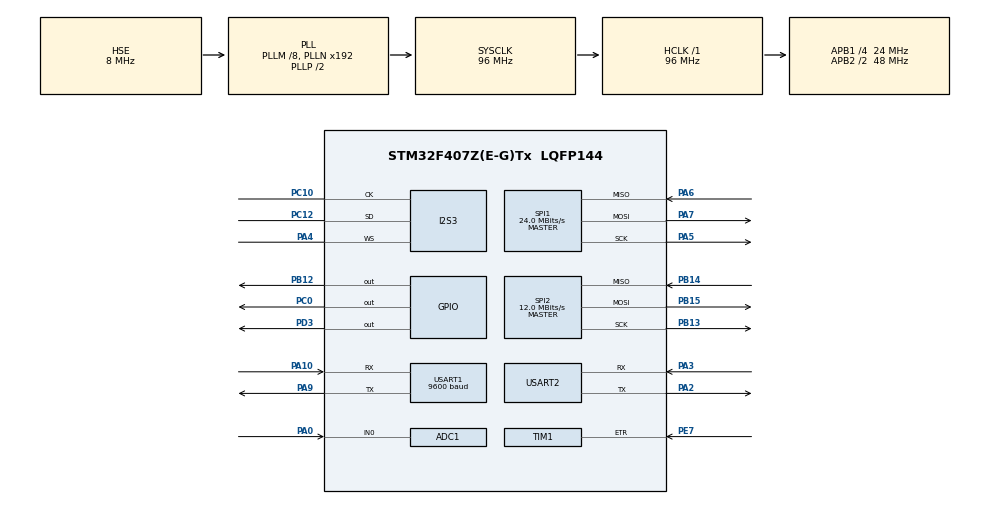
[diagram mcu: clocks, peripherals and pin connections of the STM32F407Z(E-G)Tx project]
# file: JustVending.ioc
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ADC1.Channel-0\#ChannelRegularConversion=ADC_CHANNEL_0
ADC1.NbrOfConversionFlag=1
ADC1.Rank-0\#ChannelRegularConversion=1
ADC1.SamplingTime-0\#ChannelRegularConversion=ADC_SAMPLETIME_3CYCLES
ADC1.master=1
Dma.Request0=USART1_RX
Dma.Request1=USART1_TX
Dma.Request2=USART2_RX
Dma.Request3=USART2_TX
Dma.Request4=SPI1_TX
Dma.Request5=SPI2_RX
Dma.Request6=SPI2_TX
Dma.Request7=SPI3_TX
Dma.SPI1_TX.4.Direction=DMA_MEMORY_TO_PERIPH
Dma.SPI1_TX.4.FIFOMode=DMA_FIFOMODE_DISABLE
Dma.SPI1_TX.4.Instance=DMA2_Stream3
Dma.SPI1_TX.4.MemDataAlignment=DMA_MDATAALIGN_BYTE
Dma.SPI1_TX.4.MemInc=DMA_MINC_ENABLE
Dma.SPI1_TX.4.Mode=DMA_NORMAL
Dma.SPI1_TX.4.PeriphDataAlignment=DMA_PDATAALIGN_BYTE
Dma.SPI1_TX.4.PeriphInc=DMA_PINC_DISABLE
Dma.SPI1_TX.4.Priority=DMA_PRIORITY_LOW
Dma.SPI2_RX.5.Direction=DMA_PERIPH_TO_MEMORY
Dma.SPI2_RX.5.FIFOMode=DMA_FIFOMODE_DISABLE
Dma.SPI2_RX.5.Instance=DMA1_Stream3
Dma.SPI2_RX.5.MemDataAlignment=DMA_MDATAALIGN_BYTE
Dma.SPI2_RX.5.MemInc=DMA_MINC_ENABLE
Dma.SPI2_RX.5.Mode=DMA_NORMAL
Dma.SPI2_RX.5.PeriphDataAlignment=DMA_PDATAALIGN_BYTE
Dma.SPI2_RX.5.PeriphInc=DMA_PINC_DISABLE
Dma.SPI2_RX.5.Priority=DMA_PRIORITY_LOW
Dma.SPI2_TX.6.Direction=DMA_MEMORY_TO_PERIPH
Dma.SPI2_TX.6.FIFOMode=DMA_FIFOMODE_DISABLE
Dma.SPI2_TX.6.Instance=DMA1_Stream4
Dma.SPI2_TX.6.MemDataAlignment=DMA_MDATAALIGN_BYTE
Dma.SPI2_TX.6.MemInc=DMA_MINC_ENABLE
Dma.SPI2_TX.6.Mode=DMA_NORMAL
Dma.SPI2_TX.6.PeriphDataAlignment=DMA_PDATAALIGN_BYTE
Dma.SPI2_TX.6.PeriphInc=DMA_PINC_DISABLE
Dma.SPI2_TX.6.Priority=DMA_PRIORITY_LOW
Dma.SPI3_TX.7.Direction=DMA_MEMORY_TO_PERIPH
Dma.SPI3_TX.7.FIFOMode=DMA_FIFOMODE_ENABLE
Dma.SPI3_TX.7.FIFOThreshold=DMA_FIFO_THRESHOLD_FULL
Dma.SPI3_TX.7.Instance=DMA1_Stream7
Dma.SPI3_TX.7.MemBurst=DMA_MBURST_INC4
Dma.SPI3_TX.7.MemDataAlignment=DMA_MDATAALIGN_HALFWORD
Dma.SPI3_TX.7.MemInc=DMA_MINC_ENABLE
Dma.SPI3_TX.7.Mode=DMA_NORMAL
Dma.SPI3_TX.7.PeriphBurst=DMA_PBURST_SINGLE
Dma.SPI3_TX.7.PeriphDataAlignment=DMA_PDATAALIGN_HALFWORD
Dma.SPI3_TX.7.PeriphInc=DMA_PINC_DISABLE
Dma.SPI3_TX.7.Priority=DMA_PRIORITY_VERY_HIGH
Dma.USART1_RX.0.Direction=DMA_PERIPH_TO_MEMORY
Dma.USART1_RX.0.FIFOMode=DMA_FIFOMODE_DISABLE
Dma.USART1_RX.0.Instance=DMA2_Stream5
Dma.USART1_RX.0.MemDataAlignment=DMA_MDATAALIGN_BYTE
Dma.USART1_RX.0.MemInc=DMA_MINC_ENABLE
Dma.USART1_RX.0.Mode=DMA_NORMAL
Dma.USART1_RX.0.PeriphDataAlignment=DMA_PDATAALIGN_BYTE
Dma.USART1_RX.0.PeriphInc=DMA_PINC_DISABLE
Dma.USART1_RX.0.Priority=DMA_PRIORITY_MEDIUM
Dma.USART1_TX.1.Direction=DMA_MEMORY_TO_PERIPH
Dma.USART1_TX.1.FIFOMode=DMA_FIFOMODE_DISABLE
Dma.USART1_TX.1.Instance=DMA2_Stream7
Dma.USART1_TX.1.MemDataAlignment=DMA_MDATAALIGN_BYTE
Dma.USART1_TX.1.MemInc=DMA_MINC_ENABLE
Dma.USART1_TX.1.Mode=DMA_NORMAL
Dma.USART1_TX.1.PeriphDataAlignment=DMA_PDATAALIGN_BYTE
Dma.USART1_TX.1.PeriphInc=DMA_PINC_DISABLE
Dma.USART1_TX.1.Priority=DMA_PRIORITY_MEDIUM
Dma.USART2_RX.2.Direction=DMA_PERIPH_TO_MEMORY
Dma.USART2_RX.2.FIFOMode=DMA_FIFOMODE_DISABLE
Dma.USART2_RX.2.Instance=DMA1_Stream5
Dma.USART2_RX.2.MemDataAlignment=DMA_MDATAALIGN_BYTE
Dma.USART2_RX.2.MemInc=DMA_MINC_ENABLE
Dma.USART2_RX.2.Mode=DMA_NORMAL
Dma.USART2_RX.2.PeriphDataAlignment=DMA_PDATAALIGN_BYTE
Dma.USART2_RX.2.PeriphInc=DMA_PINC_DISABLE
Dma.USART2_RX.2.Priority=DMA_PRIORITY_LOW
Dma.USART2_TX.3.Direction=DMA_MEMORY_TO_PERIPH
Dma.USART2_TX.3.FIFOMode=DMA_FIFOMODE_DISABLE
Dma.USART2_TX.3.Instance=DMA1_Stream6
Dma.USART2_TX.3.MemDataAlignment=DMA_MDATAALIGN_BYTE
Dma.USART2_TX.3.MemInc=DMA_MINC_ENABLE
Dma.USART2_TX.3.Mode=DMA_NORMAL
Dma.USART2_TX.3.PeriphDataAlignment=DMA_PDATAALIGN_BYTE
Dma.USART2_TX.3.PeriphInc=DMA_PINC_DISABLE
Dma.USART2_TX.3.Priority=DMA_PRIORITY_LOW
FREERTOS.Tasks01=defaultTask,24,128,StartDefaultTask,Default,NULL,Dynamic,NULL,NULL
I2S3.AudioFreq=I2S_AUDIOFREQ_22K
I2S3.CPOL=I2S_CPOL_HIGH
I2S3.DataFormat=I2S_DATAFORMAT_16B
I2S3.ErrorAudioFreq=0.26 %
I2S3.FullDuplexMode=I2S_FULLDUPLEXMODE_DISABLE
I2S3.Instance=SPI$Index
I2S3.RealAudioFreq=22.058 KHz
I2S3.Standard=I2S_STANDARD_PHILIPS
I2S3.VirtualMode=I2S_MODE_MASTER
Mcu.Family=STM32F4
Mcu.Name=STM32F407Z(E-G)Tx
Mcu.Package=LQFP144
NVIC.DMA1_Stream3_IRQn=true\:5\:0\:false\:false\:true\:true\:false\:true
NVIC.DMA1_Stream4_IRQn=true\:5\:0\:false\:false\:true\:true\:false\:true
NVIC.DMA1_Stream5_IRQn=true\:5\:0\:false\:false\:true\:true\:false\:true
NVIC.DMA1_Stream6_IRQn=true\:5\:0\:false\:false\:true\:true\:false\:true
NVIC.DMA1_Stream7_IRQn=true\:5\:0\:false\:false\:true\:true\:false\:true
NVIC.DMA2_Stream3_IRQn=true\:5\:0\:false\:false\:true\:true\:false\:true
NVIC.DMA2_Stream5_IRQn=true\:5\:0\:false\:false\:true\:true\:false\:true
NVIC.DMA2_Stream7_IRQn=true\:5\:0\:false\:false\:true\:true\:false\:true
NVIC.PriorityGroup=NVIC_PRIORITYGROUP_4
NVIC.SPI2_IRQn=true\:5\:0\:false\:false\:true\:true\:true\:true
NVIC.TIM1_CC_IRQn=true\:5\:0\:false\:false\:true\:true\:true\:true
NVIC.TIM3_IRQn=true\:0\:0\:false\:false\:true\:false\:false\:true
NVIC.TimeBase=TIM3_IRQn
NVIC.TimeBaseIP=TIM3
NVIC.USART1_IRQn=true\:5\:0\:false\:false\:true\:true\:true\:true
NVIC.USART2_IRQn=true\:5\:0\:false\:false\:true\:true\:true\:true
PA0-WKUP.Signal=ADCx_IN0
PA10.Mode=Asynchronous
PA10.Signal=USART1_RX
PA13.Mode=Serial_Wire
PA13.Signal=SYS_JTMS-SWDIO
PA14.Mode=Serial_Wire
PA14.Signal=SYS_JTCK-SWCLK
PA2.Mode=Asynchronous
PA2.Signal=USART2_TX
PA3.Mode=Asynchronous
PA3.Signal=USART2_RX
PA4.Mode=Half_Duplex_Master
PA4.Signal=I2S3_WS
PA5.Mode=Full_Duplex_Master
PA5.Signal=SPI1_SCK
PA6.Mode=Full_Duplex_Master
PA6.Signal=SPI1_MISO
PA7.Mode=Full_Duplex_Master
PA7.Signal=SPI1_MOSI
PA9.Mode=Asynchronous
PA9.Signal=USART1_TX
PB12.GPIO_ModeDefaultOutputPP=GPIO_MODE_OUTPUT_PP
PB12.GPIO_PuPd=GPIO_PULLUP
PB12.GPIO_Speed=GPIO_SPEED_FREQ_VERY_HIGH
PB12.PinState=GPIO_PIN_SET
PB12.Signal=GPIO_Output
PB13.Mode=Full_Duplex_Master
PB13.Signal=SPI2_SCK
PB14.Mode=Full_Duplex_Master
PB14.Signal=SPI2_MISO
PB15.Mode=Full_Duplex_Master
PB15.Signal=SPI2_MOSI
PC0.Signal=GPIO_Output
PC10.Mode=Half_Duplex_Master
PC10.Signal=I2S3_CK
PC12.Mode=Half_Duplex_Master
PC12.Signal=I2S3_SD
PC14-OSC32_IN.Mode=LSE-External-Oscillator
PC14-OSC32_IN.Signal=RCC_OSC32_IN
PC15-OSC32_OUT.Mode=LSE-External-Oscillator
PC15-OSC32_OUT.Signal=RCC_OSC32_OUT
PD3.Signal=GPIO_Output
PE7.Signal=S_TIM1_ETR
PH0-OSC_IN.Mode=HSE-External-Oscillator
PH0-OSC_IN.Signal=RCC_OSC_IN
PH1-OSC_OUT.Mode=HSE-External-Oscillator
PH1-OSC_OUT.Signal=RCC_OSC_OUT
ProjectManager.HeapSize=0x200
ProjectManager.StackSize=0x400
ProjectManager.TargetToolchain=MDK-ARM V5
RCC.48MHZClocksFreq_Value=48000000
RCC.AHBFreq_Value=96000000
RCC.APB1CLKDivider=RCC_HCLK_DIV4
RCC.APB1Freq_Value=24000000
RCC.APB1TimFreq_Value=48000000
RCC.APB2CLKDivider=RCC_HCLK_DIV2
RCC.APB2Freq_Value=48000000
RCC.APB2TimFreq_Value=96000000
RCC.CortexFreq_Value=96000000
RCC.HCLKFreq_Value=96000000
RCC.HSE_VALUE=8000000
RCC.HSI_VALUE=16000000
RCC.PLLM=8
RCC.PLLSourceVirtual=RCC_PLLSOURCE_HSE
RCC.RCC_RTC_Clock_Source=RCC_RTCCLKSOURCE_LSE
RCC.RCC_RTC_Clock_SourceVirtual=RCC_RTCCLKSOURCE_LSE
RCC.SYSCLKFreq_VALUE=96000000
RCC.SYSCLKSource=RCC_SYSCLKSOURCE_PLLCLK
RCC.VCOOutputFreq_Value=192000000
SH.ADCx_IN0.0=ADC1_IN0,IN0
SH.S_TIM1_ETR.0=TIM1_ETR,ClockSourceETR_Mode2
SPI1.BaudRatePrescaler=SPI_BAUDRATEPRESCALER_2
SPI1.CalculateBaudRate=24.0 MBits/s
SPI1.Direction=SPI_DIRECTION_2LINES
SPI1.Mode=SPI_MODE_MASTER
SPI1.VirtualType=VM_MASTER
SPI2.BaudRatePrescaler=SPI_BAUDRATEPRESCALER_2
SPI2.CalculateBaudRate=12.0 MBits/s
SPI2.Direction=SPI_DIRECTION_2LINES
SPI2.Mode=SPI_MODE_MASTER
SPI2.VirtualType=VM_MASTER
USART1.BaudRate=9600
USART1.VirtualMode=VM_ASYNC
USART2.VirtualMode=VM_ASYNC
VP_FREERTOS_VS_CMSIS_V1.Mode=CMSIS_V1
VP_RTC_VS_RTC_Activate.Mode=RTC_Enabled
VP_SYS_VS_tim3.Mode=TIM3
VP_TIM2_VS_ClockSourceINT.Mode=Internal
board=custom

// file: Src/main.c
/* USER CODE BEGIN Header */
/**
  ******************************************************************************
  * @file           : main.c
  * @brief          : Main program body
  ******************************************************************************
  * @attention
  *
  * <h2><center>&copy; Copyright (c) 2019 STMicroelectronics.
  * All rights reserved.</center></h2>
  *
  * This software component is licensed by ST under BSD 3-Clause license,
  * the "License"; You may not use this file except in compliance with the
  * License. You may obtain a copy of the License at:
  *                        opensource.org/licenses/BSD-3-Clause
  *
  ******************************************************************************
  */
/* USER CODE END Header */

#include "main.h"
#include "cmsis_os.h"
#include "adc.h"
#include "dma.h"
#include "i2s.h"
#include "rtc.h"
#include "spi.h"
#include "tim.h"
#include "usart.h"
#include "gpio.h"

/* USER CODE BEGIN Includes */
#include "cctalk.h"
#include "stdio.h"
#include "math.h"
/* USER CODE END Includes */

void SystemClock_Config(void);
void MX_FREERTOS_Init(void);

/* USER CODE BEGIN 0 */
 #define ITM_Port8(n)    (*((volatile unsigned char *)(0xE0000000+4*n)))
#define ITM_Port16(n)   (*((volatile unsigned short*)(0xE0000000+4*n)))
#define ITM_Port32(n)   (*((volatile unsigned long *)(0xE0000000+4*n)))
#define DEMCR           (*((volatile unsigned long *)(0xE000EDFC)))
#define TRCENA          0x01000000

struct __FILE { int handle; /* Add whatever you need here */ };
FILE __stdout;
FILE __stdin;
volatile uint8_t dma_i2s_half_complete=0;
volatile uint8_t dma_spi_complete;
volatile uint8_t dma_i2s_complete;

int fputc(int ch, FILE *f) {
      if (DEMCR & TRCENA)
				{
        while (ITM_Port32(0) == 0);
        ITM_Port8(0) = ch;
        }
  return(ch);

}

/* USER CODE END 0 */

int main(void)
{
  /* USER CODE BEGIN 1 */
    //  uint8_t str[]="USART Transmit DMA\r\n";
    extern DMA_HandleTypeDef hdma_usart1_tx;
    extern DMA_HandleTypeDef hdma_usart1_rx;
    extern DMA_HandleTypeDef hdma_spi1_tx;
    extern DMA_HandleTypeDef hdma_spi2_rx;
    extern DMA_HandleTypeDef hdma_spi3_tx;
    uint8_t income[512];

    uint32_t crc;
    uint8_t  crc_cctalk;
    uint8_t devid_cmd[1] = { 0x9F };
    uint8_t flash_read_cmd[4];
    flash_read_cmd[0]=0x0b;
    flash_read_cmd[1]=0;
    flash_read_cmd[2]=0;
    flash_read_cmd[3]=0;

    uint32_t flash_addr=0;
    uint32_t audio_size=0x3E3C0;

  /* USER CODE END 1 */

  /* MCU Configuration--------------------------------------------------------*/

  /* Reset of all peripherals, Initializes the Flash interface and the Systick. */
  HAL_Init();

  /* Configure the system clock */
  SystemClock_Config();

  /* Initialize all configured peripherals */
  MX_GPIO_Init();
  MX_DMA_Init();
  MX_ADC1_Init();
  MX_RTC_Init();
  MX_SPI1_Init();
  MX_TIM1_Init();
  MX_TIM2_Init();
  MX_USART1_UART_Init();
  MX_USART2_UART_Init();
  MX_I2S3_Init();
  MX_SPI2_Init();
  /* USER CODE BEGIN 2 */
  _LED2_OFF_;
    HAL_UART_Transmit_DMA(&huart1, (uint8_t*)cmd01, sizeof(cmd01));
    while (hdma_usart1_tx.State==HAL_DMA_STATE_BUSY);
    HAL_Delay(500);
   //check SPI FLASH ID
   HAL_GPIO_WritePin(GPIOB,GPIO_PIN_12,GPIO_PIN_RESET);
   HAL_SPI_Transmit(&hspi2, devid_cmd, 1,500);
   HAL_SPI_Receive(&hspi2,income,5,500);
   HAL_GPIO_WritePin(GPIOB,GPIO_PIN_12,GPIO_PIN_SET);
   HAL_Delay(10);

   while (  flash_addr<audio_size) {
    dma_i2s_complete=0;
    dma_i2s_half_complete=0;
    while(hdma_spi3_tx.State !=HAL_DMA_STATE_READY);
    HAL_I2S_Transmit_DMA(&hi2s3,(uint16_t *)income,sizeof(income)/2);
    flash_read_cmd[2]=(uint8_t) (flash_addr>>8);  //medium
    flash_read_cmd[1]=(uint8_t) (flash_addr>>16); //high

     // command flash structure  0x0B  J(HIGH)  I(MED)  0(LOW)

   HAL_GPIO_WritePin(GPIOB,GPIO_PIN_12,GPIO_PIN_RESET);
   HAL_SPI_Transmit_DMA(&hspi2, flash_read_cmd,sizeof(flash_read_cmd)+1);
   while(hdma_spi2_rx.State != HAL_DMA_STATE_READY);

   HAL_SPI_Receive_DMA(&hspi2,&income[256],256);
   while(hdma_spi2_rx.State != HAL_DMA_STATE_READY);
   HAL_GPIO_WritePin(GPIOB,GPIO_PIN_12,GPIO_PIN_SET);
   flash_addr+=256;

   while(dma_i2s_half_complete ==0);

    flash_read_cmd[2]=(uint8_t) (flash_addr>>8);  //medium
    flash_read_cmd[1]=(uint8_t) (flash_addr>>16); //high

     // command flash structure  0x0B  J(HIGH)  I(MED)  0(LOW)
   HAL_GPIO_WritePin(GPIOB,GPIO_PIN_12,GPIO_PIN_RESET);

   HAL_SPI_Transmit_DMA(&hspi2, flash_read_cmd,sizeof(flash_read_cmd)+1);
   while(hdma_spi2_rx.State != HAL_DMA_STATE_READY);
   HAL_SPI_Receive_DMA(&hspi2,&income[0],256);
   while(hdma_spi2_rx.State != HAL_DMA_STATE_READY);
   HAL_GPIO_WritePin(GPIOB,GPIO_PIN_12,GPIO_PIN_SET);
   flash_addr+=256;

   while(dma_i2s_complete ==0);

  } //while
   HAL_Delay(10);

  /* USER CODE END 2 */

  /* Call init function for freertos objects (in freertos.c) */
  MX_FREERTOS_Init();

  /* Start scheduler */
  osKernelStart();

  /* We should never get here as control is now taken by the scheduler */

  /* Infinite loop */
  while (1)
  {

    /* USER CODE BEGIN 3 */
    HAL_UART_Receive_DMA(&huart1, income,21);
    HAL_UART_Transmit_DMA(&huart1, (uint8_t*)cmdE5, sizeof(cmdE5));
  _LED1_ON_;
  while (hdma_usart1_tx.State==HAL_DMA_STATE_BUSY);
  //printf("Sent \n\r");
   //   HAL_Delay(1);

  while (hdma_usart1_rx.State!=HAL_DMA_STATE_READY);
  crc=0;
  for (int i=5;i<20;i++)
      {crc+=income[i];
      }
  crc_cctalk=(uint8_t)(256-(crc%256));
  printf("crc %x\n\r",crc_cctalk);

  _LED1_OFF_;
  HAL_Delay(100);
  }
  /* USER CODE END 3 */
}

void SystemClock_Config(void)
{
  RCC_OscInitTypeDef RCC_OscInitStruct = {0};
  RCC_ClkInitTypeDef RCC_ClkInitStruct = {0};
  RCC_PeriphCLKInitTypeDef PeriphClkInitStruct = {0};

  /** Configure the main internal regulator output voltage
  */
  __HAL_RCC_PWR_CLK_ENABLE();
  __HAL_PWR_VOLTAGESCALING_CONFIG(PWR_REGULATOR_VOLTAGE_SCALE1);
  /** Initializes the CPU, AHB and APB busses clocks
  */
  RCC_OscInitStruct.OscillatorType = RCC_OSCILLATORTYPE_HSE|RCC_OSCILLATORTYPE_LSE;
  RCC_OscInitStruct.HSEState = RCC_HSE_ON;
  RCC_OscInitStruct.LSEState = RCC_LSE_ON;
  RCC_OscInitStruct.PLL.PLLState = RCC_PLL_ON;
  RCC_OscInitStruct.PLL.PLLSource = RCC_PLLSOURCE_HSE;
  RCC_OscInitStruct.PLL.PLLM = 8;
  RCC_OscInitStruct.PLL.PLLN = 192;
  RCC_OscInitStruct.PLL.PLLP = RCC_PLLP_DIV2;
  RCC_OscInitStruct.PLL.PLLQ = 4;
  if (HAL_RCC_OscConfig(&RCC_OscInitStruct) != HAL_OK)
  {
    Error_Handler();
  }
  /** Initializes the CPU, AHB and APB busses clocks
  */
  RCC_ClkInitStruct.ClockType = RCC_CLOCKTYPE_HCLK|RCC_CLOCKTYPE_SYSCLK
                              |RCC_CLOCKTYPE_PCLK1|RCC_CLOCKTYPE_PCLK2;
  RCC_ClkInitStruct.SYSCLKSource = RCC_SYSCLKSOURCE_PLLCLK;
  RCC_ClkInitStruct.AHBCLKDivider = RCC_SYSCLK_DIV1;
  RCC_ClkInitStruct.APB1CLKDivider = RCC_HCLK_DIV4;
  RCC_ClkInitStruct.APB2CLKDivider = RCC_HCLK_DIV2;

  if (HAL_RCC_ClockConfig(&RCC_ClkInitStruct, FLASH_LATENCY_3) != HAL_OK)
  {
    Error_Handler();
  }
  PeriphClkInitStruct.PeriphClockSelection = RCC_PERIPHCLK_I2S|RCC_PERIPHCLK_RTC;
  PeriphClkInitStruct.PLLI2S.PLLI2SN = 192;
  PeriphClkInitStruct.PLLI2S.PLLI2SR = 2;
  PeriphClkInitStruct.RTCClockSelection = RCC_RTCCLKSOURCE_LSE;
  if (HAL_RCCEx_PeriphCLKConfig(&PeriphClkInitStruct) != HAL_OK)
  {
    Error_Handler();
  }
}

void HAL_TIM_PeriodElapsedCallback(TIM_HandleTypeDef *htim)
{
  if (htim->Instance == TIM3) {
    HAL_IncTick();
  }
}

void Error_Handler(void)
{
}

/************************ (C) COPYRIGHT STMicroelectronics *****END OF FILE****/

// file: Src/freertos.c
/* USER CODE BEGIN Header */
/**
  ******************************************************************************
  * File Name          : freertos.c
  * Description        : Code for freertos applications
  ******************************************************************************
  * @attention
  *
  * <h2><center>&copy; Copyright (c) 2020 STMicroelectronics.
  * All rights reserved.</center></h2>
  *
  * This software component is licensed by ST under Ultimate Liberty license
  * SLA0044, the "License"; You may not use this file except in compliance with
  * the License. You may obtain a copy of the License at:
  *                             www.st.com/SLA0044
  *
  ******************************************************************************
  */
/* USER CODE END Header */

#include "FreeRTOS.h"
#include "task.h"
#include "main.h"
#include "cmsis_os.h"

osThreadId defaultTaskHandle;

void StartDefaultTask(void const * argument);

void MX_FREERTOS_Init(void); /* (MISRA C 2004 rule 8.1) */

/* GetIdleTaskMemory prototype (linked to static allocation support) */
void vApplicationGetIdleTaskMemory( StaticTask_t **ppxIdleTaskTCBBuffer, StackType_t **ppxIdleTaskStackBuffer, uint32_t *pulIdleTaskStackSize );

/* USER CODE BEGIN GET_IDLE_TASK_MEMORY */
static StaticTask_t xIdleTaskTCBBuffer;
static StackType_t xIdleStack[configMINIMAL_STACK_SIZE];

void vApplicationGetIdleTaskMemory( StaticTask_t **ppxIdleTaskTCBBuffer, StackType_t **ppxIdleTaskStackBuffer, uint32_t *pulIdleTaskStackSize )
{
  *ppxIdleTaskTCBBuffer = &xIdleTaskTCBBuffer;
  *ppxIdleTaskStackBuffer = &xIdleStack[0];
  *pulIdleTaskStackSize = configMINIMAL_STACK_SIZE;
  /* place for user code */
}
/* USER CODE END GET_IDLE_TASK_MEMORY */

void MX_FREERTOS_Init(void) {

  /* Create the thread(s) */
  /* definition and creation of defaultTask */
  osThreadDef(defaultTask, StartDefaultTask, osPriorityNormal, 0, 128);
  defaultTaskHandle = osThreadCreate(osThread(defaultTask), NULL);

}

void StartDefaultTask(void const * argument)
{

  for(;;)
  {
    osDelay(1);
  }
}

/************************ (C) COPYRIGHT STMicroelectronics *****END OF FILE****/
